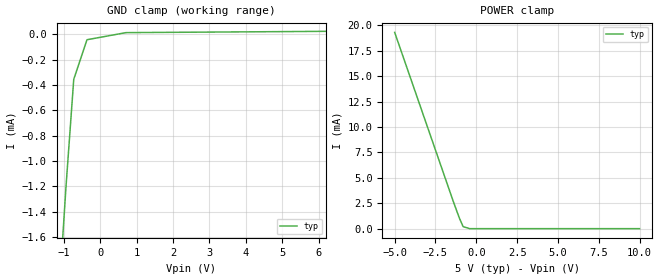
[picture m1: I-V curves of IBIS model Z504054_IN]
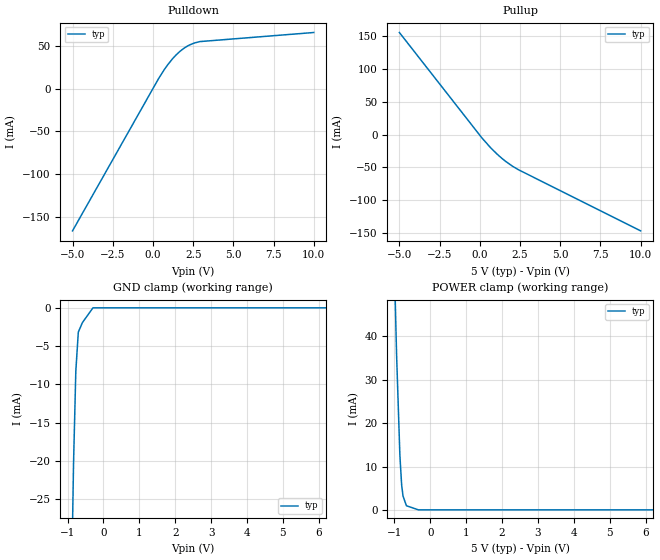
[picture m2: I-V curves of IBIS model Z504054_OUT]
| YOU ARE ONLY AUTHORIZED TO USE THIS SOFTWARE
| ACCORDING TO LICENSOR'S LICENSE RESTRICTIONS.
[IBIS Ver] 3.1
[File Name] mc54hc10j.ibs
[File Rev] 2.0
[Source] Measured and created by ICX Technology
[Date] Friday 7/14/00 9:08:05 AM
[Copyright]
| (C) COPYRIGHT 1993-2000
| MENTOR GRAPHICS CORPORATION
| ICX STANDARD LIBRARY, ICX PROJECT MODELING,
| ICX CUSTOM MODELING, ICX VENDOR MODEL
| ALL RIGHTS RESERVED.
| THE FOLLOWING ARE TRADEMARKS OR SERVICE MARKS OF
| MENTOR GRAPHICS CORPORATION:ICX (R), ICX STANDARD
| LIBRARY(R), ICX PROJECT MODELING(R), ICX CUSTOM
| MODELING(R), qualityIBIS(TM), MODELVIEWER(TM),
| AND MODELEDITOR(TM)
| ALL COPIES OF SOFTWARE, INCLUDING BUT NOT LIMITED TO
| ANY MODIFICATIONS, ENHANCEMENTS OR DERIVATIVE WORKS,
| MUST CONTAIN ALL MENTOR GRAPHICS CORPORATION'S
| NOTICES AND LEGENDS, INCLUDING THOSE EMBEDDED IN
| SOFTWARE AND THOSE AFFIXED TO SOFTWARE MEDIUM
| AND CONTAINER, AS RECEIVED FROM MENTOR GRAPHICS
| CORPORATION.
|  ZAP Model Builder 2.7
[Component] MC54HC10J
[Manufacturer] OnSemiconductor
[Package]
| variable   typ   min   max
R_pkg  .21ohms NA NA
L_pkg  4.543nH NA NA
C_pkg  1.8pF NA NA
[Pin] signal_name  model_name  R_pin  L_pin C_pin
1 A Z504054_IN .22 6.757n 2.434p
2 B Z504054_IN .212 4.757n 1.941p
3 A Z504054_IN .204 3.257n 1.448p
4 B Z504054_IN .196 2.257n .955p
5 C Z504054_IN .204 3.257n 1.448p
6 Y Z504054_OUT .212 4.757n 1.941p
7 GND GND .22 6.757n 2.434p
8 Y Z504054_OUT .22 6.757n 2.434p
9 A Z504054_IN .212 4.757n 1.941p
10 B Z504054_IN .204 3.257n 1.448p
11 C Z504054_IN .196 2.257n .955p
12 Y Z504054_OUT .204 3.257n 1.448p
13 C Z504054_IN .212 4.757n 1.941p
14 VCC POWER .22 6.757n 2.434p
| Models and submodels in the file (2): Z504054_IN (Input), Z504054_OUT (Output)
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| (C) COPYRIGHT 1993-2000
| MENTOR GRAPHICS CORPORATION
| ICX STANDARD LIBRARY, ICX PROJECT MODELING,
| ICX CUSTOM MODELING, ICX VENDOR MODEL
| ALL RIGHTS RESERVED.
| THE FOLLOWING ARE TRADEMARKS OR SERVICE MARKS OF
| MENTOR GRAPHICS CORPORATION:ICX (R), ICX STANDARD
| LIBRARY(R), ICX PROJECT MODELING(R), ICX CUSTOM
| MODELING(R), qualityIBIS(TM), MODELVIEWER(TM),
| AND MODELEDITOR(TM)
| ALL COPIES OF SOFTWARE, INCLUDING BUT NOT LIMITED TO
| ANY MODIFICATIONS, ENHANCEMENTS OR DERIVATIVE WORKS,
| MUST CONTAIN ALL MENTOR GRAPHICS CORPORATION'S
| NOTICES AND LEGENDS, INCLUDING THOSE EMBEDDED IN
| SOFTWARE AND THOSE AFFIXED TO SOFTWARE MEDIUM
| AND CONTAINER, AS RECEIVED FROM MENTOR GRAPHICS
| CORPORATION.
| Model Application Version 1.89 2/18/99.
[Model] Z504054_IN
Model_type Input
Vinl = 1.000V
Vinh = 3.500V
C_comp 4.000pF NA NA
| variable typ   min   max
[Voltage Range] 5.000V NA NA
[GND Clamp Reference] 0.000V NA NA
[POWER Clamp Reference] 5.000V NA NA
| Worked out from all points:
|   GND clamp passes 1 mA (typ) near -0.89 V on its own axis
|   POWER clamp passes 1 mA (typ) near -1.03 V on its own axis
[GND Clamp]
-5V       -20.18mA   NA         NA
-1.338V   -2.974mA   NA         NA
-937.2mV  -1.193mA   NA         NA
-726.7mV  -355uA     NA         NA
-363.4mV  -42.61uA   NA         NA
706mV     13.44uA    NA         NA
10V       30.79uA    NA         NA
[POWER Clamp]
-5V       19.3mA     NA         NA
-1.402V   2.64mA     NA         NA
-1.04V    1.05mA     NA         NA
-809mV    200.3uA    NA         NA
-404.5mV  0A         NA         NA
10V       0A         NA         NA
| (C) COPYRIGHT 1993-2000
| MENTOR GRAPHICS CORPORATION
| ICX STANDARD LIBRARY, ICX PROJECT MODELING,
| ICX CUSTOM MODELING, ICX VENDOR MODEL
| ALL RIGHTS RESERVED.
| THE FOLLOWING ARE TRADEMARKS OR SERVICE MARKS OF
| MENTOR GRAPHICS CORPORATION:ICX (R), ICX STANDARD
| LIBRARY(R), ICX PROJECT MODELING(R), ICX CUSTOM
| MODELING(R), qualityIBIS(TM), MODELVIEWER(TM),
| AND MODELEDITOR(TM)
| ALL COPIES OF SOFTWARE, INCLUDING BUT NOT LIMITED TO
| ANY MODIFICATIONS, ENHANCEMENTS OR DERIVATIVE WORKS,
| MUST CONTAIN ALL MENTOR GRAPHICS CORPORATION'S
| NOTICES AND LEGENDS, INCLUDING THOSE EMBEDDED IN
| SOFTWARE AND THOSE AFFIXED TO SOFTWARE MEDIUM
| AND CONTAINER, AS RECEIVED FROM MENTOR GRAPHICS
| CORPORATION.
| Model Application Version 1.89 2/18/99.
[Model] Z504054_OUT
Model_type Output
Vref=0.000V
Rref=500.0Mohms
Cref=50.00pF
Vmeas=2.500V
C_comp 8.000pF NA NA
| variable typ   min   max
[Voltage Range] 5.000V NA NA
[POWER Clamp Reference] 5.000V NA NA
[Pullup Reference] 5.000V NA NA
[Pulldown Reference] 0.000V NA NA
[GND Clamp Reference] 0.000V NA NA
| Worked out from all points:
|   slope of the pulldown table from 0 to 0.75 V, typ, clamps not added: 32.1 ohm
|   slope of the pullup table from 0 to 0.75 V, typ, clamps not added: 35.8 ohm
|   POWER clamp passes 1 mA (typ) near -0.67 V on its own axis
[GND Clamp]
-5V       -1.203A    NA         NA
-834.8mV  -20.3mA    NA         NA
-771.5mV  -8.283mA   NA         NA
-702mV    -3.175mA   NA         NA
-585.9mV  -1.916mA   NA         NA
-293mV    0A         NA         NA
10V       0A         NA         NA
[Pulldown]
-5V       -166.3mA   NA         NA
338.5mV   11.28mA    NA         NA
913.3mV   27.71mA    NA         NA
1.227V    35.08mA    NA         NA
1.676V    43.49mA    NA         NA
2.228V    50.58mA    NA         NA
2.9V      54.96mA    NA         NA
10V       65.61mA    NA         NA
[Pullup]
-5V       155.8mA    NA         NA
122mV     -4.697mA   NA         NA
660mV     -19.61mA   NA         NA
1.069V    -29.56mA   NA         NA
1.364V    -35.91mA   NA         NA
1.616V    -40.9mA    NA         NA
2.007V    -47.72mA   NA         NA
2.402V    -53.47mA   NA         NA
10V       -146.7mA   NA         NA
[POWER Clamp]
-5V       1.395A     NA         NA
-942mV    35.86mA    NA         NA
-850mV    12.61mA    NA         NA
-801mV    5.773mA    NA         NA
-763mV    3.204mA    NA         NA
-668mV    950.9uA    NA         NA
-334mV    0A         NA         NA
10V       0A         NA         NA
[Ramp]
| variable typ min max
dV/dt_r 2.825/1.919n NA NA
dV/dt_f 2.825/1.901n NA NA
R_load = 500.0Ohms
